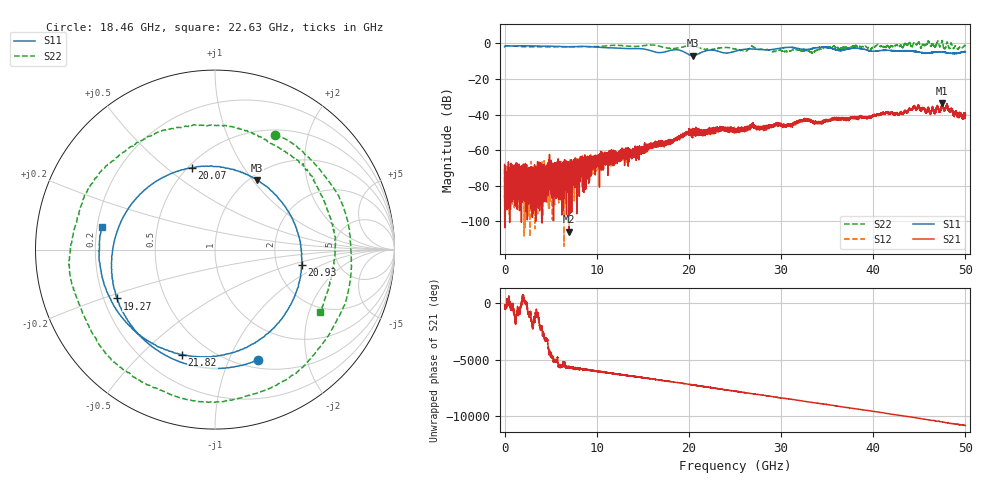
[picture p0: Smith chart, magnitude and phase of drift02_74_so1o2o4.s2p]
!Created with skrf (http://scikit-rf.org).
# Hz S RI R 50.0
!freq ReS11 ImS11 ReS21 ImS21 ReS12 ImS12 ReS22 ImS22
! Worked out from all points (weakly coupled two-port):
!   10001 points, 300 kHz to 50 GHz, reference 50 ohm
!   highest |S21| = -33.60 dB at 47.49 GHz (marker M1); lowest = -105.8 dB at 7.005 GHz (marker M2)
!   lowest |S11| = -6.9 dB at 20.41 GHz (marker M3), VSWR 2.65, Z = 54.1 + j52.5 ohm
!   |S11| at or under -10 dB: nowhere
!   |S22| runs from -5.4 to 1.6 dB; largest |S21 - S12| = 0.0045
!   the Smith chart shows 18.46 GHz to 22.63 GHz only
!   S11 on the Smith chart (normalised r, x): 18.46 GHz: 0.59, -1.28; 19.27 GHz: 0.26, -0.22; 20.07 GHz: 0.52, +0.62; 20.93 GHz: 2.76, -0.64; 21.82 GHz: 0.36, -0.67; 22.63 GHz: 0.22, +0.09
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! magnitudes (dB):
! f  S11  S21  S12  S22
! 300 kHz  -2.0  -68.1  -70.3  -1.3
! 380.3 MHz  -1.4  -75.3  -83.3  -1.4
! 2.205 GHz  -1.3  -74.6  -79.0  -1.9
! 2.535 GHz  -1.4  -85.1  -81.0  -1.9
! 6.41 GHz  -1.9  -70.5  -70.5  -1.9
! 7.005 GHz  -1.9  -105.8  -71.4  -1.9
! 8.335 GHz  -1.7  -68.5  -66.6  -1.9
! 16.67 GHz  -5.2  -56.7  -56.0  -1.4
! 18.46 GHz  -3.6  -54.3  -54.5  -2.8
! 19.27 GHz  -4.3  -51.6  -52.0  -2.1
! 20.07 GHz  -6.5  -49.9  -49.2  -1.5
! 20.41 GHz  -6.9  -49.2  -48.7  -1.7
! 20.93 GHz  -6.2  -49.0  -50.7  -2.2
! 21.82 GHz  -4.2  -50.2  -49.3  -3.5
! 22.63 GHz  -3.8  -48.7  -48.1  -3.3
! 25 GHz  -4.5  -48.6  -48.2  -3.2
! 26.9 GHz  -3.2  -45.9  -46.9  -1.7
! 33.34 GHz  -3.0  -43.8  -43.4  -5.1
! 34.89 GHz  -2.2  -43.2  -43.6  -2.3
! 41.67 GHz  -4.0  -38.9  -39.2  -2.0
! 47.49 GHz  -4.8  -33.6  -34.2  1.4
! 50 GHz  -4.7  -40.3  -40.2  -1.5
